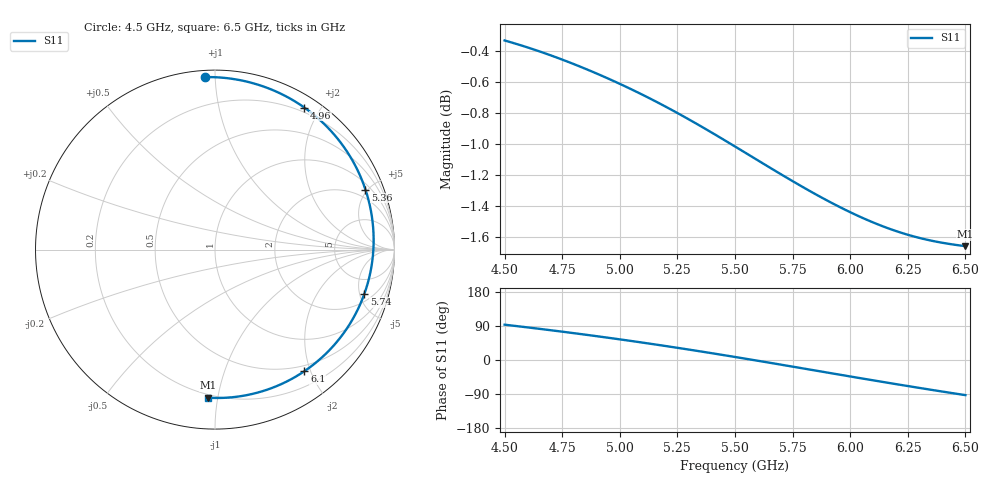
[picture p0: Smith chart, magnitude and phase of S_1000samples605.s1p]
! TOUCHSTONE file generated by CST MICROWAVE STUDIO
! Date and time: Fri Oct 28 18:06:52 2022
! Project name: L.cst
! Parameters = {Di=1.27; Epsilon_r=1.56; InnerDiameter=1.27; Length=2; Lf=10; Lg=60; OuterConductorThickness=0.2921; OuterDiameter=3.6; Wf=3; Wp=41.2; de=1.5; df=6.8; g=0.8; gx=3.01314; gy=3.38513; h=2.34; hf=1.524; px=8.78144; py=10.51; w=9.7; wx=5.7683; wy=7.12483}
! Header version: 2018
! Port assignment regex: !\s*Touchstone port\s*([0-9]+)\s*=\s*(CST MWS port|CST DS port)\s*([0-9]+|Zmin|Zmax)\s*\(\"(.*)\"\)(\s*mode\s*([0-9]+))?.*
! Touchstone port assignment:
! Touchstone port 1 = CST MWS port 1 ("")
# GHz S DB R 50
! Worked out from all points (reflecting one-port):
!   101 points, 4.5 GHz to 6.5 GHz, reference 50 ohm
!   lowest |S11| = -1.7 dB at 6.5 GHz (marker M1), VSWR 10.50, Z = 9.02 - j46.9 ohm
!   phase of S11 starts at 93 deg and turns -186 deg over the sweep
!   S11 on the Smith chart (normalised r, x): 4.5 GHz: 0.04, +0.95; 4.96 GHz: 0.14, +1.80; 5.36 GHz: 1.35, +4.85; 5.74 GHz: 2.78, -5.55; 6.1 GHz: 0.41, -1.91; 6.5 GHz: 0.18, -0.94
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4.5  -0.33 93.2
4.58  -0.37 87.5
4.64  -0.40 83.1
4.76  -0.46 74.0
4.86  -0.52 66.1
4.96  -0.58 57.8
5  -0.61 54.5
5.12  -0.70 44.0
5.2  -0.76 36.8
5.26  -0.81 31.2
5.36  -0.89 21.7
5.44  -0.96 13.9
5.5  -1.02 8.0
5.56  -1.07 2.0
5.62  -1.12 -4.1
5.68  -1.18 -10.3
5.74  -1.23 -16.5
5.76  -1.25 -18.5
5.82  -1.30 -24.8
5.88  -1.35 -31.0
6  -1.44 -43.4
6.1  -1.51 -53.7
6.18  -1.55 -61.7
6.26  -1.59 -69.7
6.32  -1.61 -75.6
6.38  -1.63 -81.4
6.44  -1.65 -87.1
6.5  -1.66 -92.7
